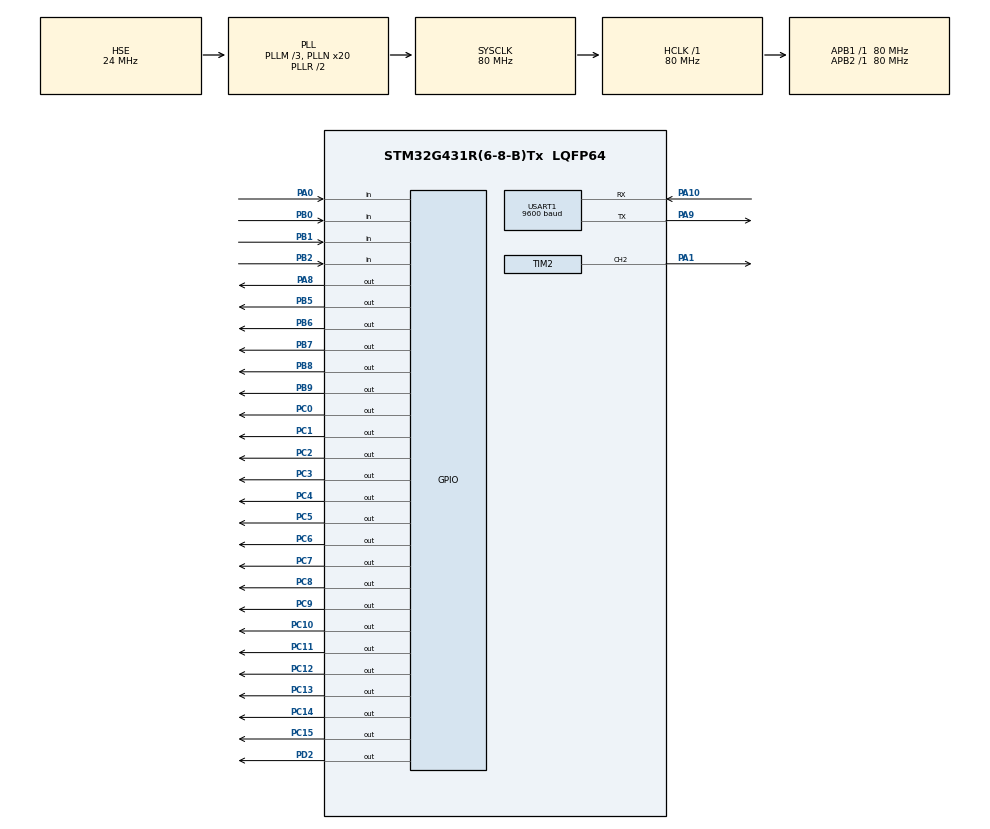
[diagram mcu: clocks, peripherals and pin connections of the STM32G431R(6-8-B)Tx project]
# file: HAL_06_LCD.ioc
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Mcu.Family=STM32G4
Mcu.Name=STM32G431R(6-8-B)Tx
Mcu.Package=LQFP64
NVIC.PriorityGroup=NVIC_PRIORITYGROUP_4
NVIC.USART1_IRQn=true\:0\:0\:false\:false\:true\:true\:true
PA0.Signal=GPIO_Input
PA1.Signal=S_TIM2_CH2
PA10.Mode=Asynchronous
PA10.Signal=USART1_RX
PA13.Mode=Serial_Wire
PA13.Signal=SYS_JTMS-SWDIO
PA14.Mode=Serial_Wire
PA14.Signal=SYS_JTCK-SWCLK
PA8.Signal=GPIO_Output
PA9.Mode=Asynchronous
PA9.Signal=USART1_TX
PB0.Signal=GPIO_Input
PB1.Signal=GPIO_Input
PB2.Signal=GPIO_Input
PB5.Signal=GPIO_Output
PB6.GPIO_ModeDefaultOutputPP=GPIO_MODE_OUTPUT_OD
PB6.Signal=GPIO_Output
PB7.GPIO_ModeDefaultOutputPP=GPIO_MODE_OUTPUT_OD
PB7.Signal=GPIO_Output
PB8-BOOT0.Signal=GPIO_Output
PB9.Signal=GPIO_Output
PC0.Signal=GPIO_Output
PC1.Signal=GPIO_Output
PC10.Signal=GPIO_Output
PC11.Signal=GPIO_Output
PC12.Signal=GPIO_Output
PC13.Signal=GPIO_Output
PC14-OSC32_IN.Signal=GPIO_Output
PC15-OSC32_OUT.Signal=GPIO_Output
PC2.Signal=GPIO_Output
PC3.Signal=GPIO_Output
PC4.Signal=GPIO_Output
PC5.Signal=GPIO_Output
PC6.Signal=GPIO_Output
PC7.Signal=GPIO_Output
PC8.Signal=GPIO_Output
PC9.Signal=GPIO_Output
PD2.Signal=GPIO_Output
PF0-OSC_IN.Mode=HSE-External-Oscillator
PF0-OSC_IN.Signal=RCC_OSC_IN
PF1-OSC_OUT.Mode=HSE-External-Oscillator
PF1-OSC_OUT.Signal=RCC_OSC_OUT
ProjectManager.HeapSize=0x200
ProjectManager.StackSize=0x400
ProjectManager.TargetToolchain=MDK-ARM V5.27
RCC.ADC12Freq_Value=80000000
RCC.AHBFreq_Value=80000000
RCC.APB1Freq_Value=80000000
RCC.APB1TimFreq_Value=80000000
RCC.APB2Freq_Value=80000000
RCC.APB2TimFreq_Value=80000000
RCC.CortexFreq_Value=80000000
RCC.EXTERNAL_CLOCK_VALUE=12288000
RCC.HCLKFreq_Value=80000000
RCC.HSE_VALUE=24000000
RCC.HSI48_VALUE=48000000
RCC.HSI_VALUE=16000000
RCC.LSE_VALUE=32768
RCC.PLLM=RCC_PLLM_DIV3
RCC.PLLN=20
RCC.PLLSourceVirtual=RCC_PLLSOURCE_HSE
RCC.SYSCLKFreq_VALUE=80000000
RCC.SYSCLKSource=RCC_SYSCLKSOURCE_PLLCLK
RCC.USBFreq_Value=80000000
RCC.VCOOutputFreq_Value=160000000
SH.S_TIM2_CH2.0=TIM2_CH2,PWM Generation2 CH2
TIM2.Channel-PWM\ Generation2\ CH2=TIM_CHANNEL_2
TIM2.PeriodNoDither=499
TIM2.Prescaler=79
TIM2.PulseNoDither_2=25
USART1.BaudRate=9600
USART1.VirtualMode-Asynchronous=VM_ASYNC
VP_SYS_VS_DBSignals.Mode=DisableDeadBatterySignals
board=custom

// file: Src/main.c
/* USER CODE BEGIN Header */
/**
  ******************************************************************************
  * @file           : main.c
  * @brief          : Main program body
  ******************************************************************************
  * @attention
  *
  * <h2><center>&copy; Copyright (c) 2021 STMicroelectronics.
  * All rights reserved.</center></h2>
  *
  * This software component is licensed by ST under BSD 3-Clause license,
  * the "License"; You may not use this file except in compliance with the
  * License. You may obtain a copy of the License at:
  *                        opensource.org/licenses/BSD-3-Clause
  *
  ******************************************************************************
  */
/* USER CODE END Header */

#include "main.h"
#include "tim.h"
#include "usart.h"
#include "gpio.h"

/* USER CODE BEGIN Includes */
#include "i2c.h"
/* USER CODE END Includes */

/* USER CODE BEGIN PV */
u8 ucLed=0;
vu32 uwTickMs=0,uwTick100Ms=0;

u8 ucState=0; //0--shop,1--price,2--rep
u8 ucEnter=0;  //0--normal 5%  1--30%
u32 uwEnterMs=0;

u8 pucShop[2]={0,0};
u8 pucPrice[2]={10,10};			//1,0,1,0    x10
u8 pucRep[2]={10,10};

u8 ucUARTCmd;
u8 pucUARTFee[25]={0};
/* USER CODE END PV */

void SystemClock_Config(void);
/* USER CODE BEGIN PFP */
void Key_Proc(void);
void LCD_Proc(void);
void LED_PWM_Proc(void);

/* USER CODE END PFP */

int main(void)
{
  /* USER CODE BEGIN 1 */
	u8 pucI2C_Read[5];
	u8 pucI2C_Write[5];
  /* USER CODE END 1 */

  /* MCU Configuration--------------------------------------------------------*/

  /* Reset of all peripherals, Initializes the Flash interface and the Systick. */
  HAL_Init();

  /* Configure the system clock */
  SystemClock_Config();

  /* Initialize all configured peripherals */
  MX_GPIO_Init();
  MX_TIM2_Init();
  MX_USART1_UART_Init();
  /* USER CODE BEGIN 2 */

	LCD_Init();
  /* USER CODE END 2 */

  /* Infinite loop */
  /* USER CODE BEGIN WHILE */

	LCD_Clear(Black);
	LCD_SetBackColor(Black);
	LCD_SetTextColor(White);

	MEM_Read(0,pucI2C_Read,5);
	if(pucI2C_Read[4]!=1)
	{
		pucRep[0]=10;
		pucRep[1]=10;
		pucPrice[0]=10;
		pucPrice[1]=10;
		pucI2C_Write[0]=10;
		pucI2C_Write[1]=10;
		pucI2C_Write[2]=10;
		pucI2C_Write[3]=10;
		pucI2C_Write[4]=1;
		MEM_Write(0,pucI2C_Write,5);
	}
	else
	{
		if(pucI2C_Read[2]>=10 && pucI2C_Read[2]<=20 && pucI2C_Read[3]>=10 && pucI2C_Read[3]<=20)
		{
			pucRep[0]=pucI2C_Read[0];
			pucRep[1]=pucI2C_Read[1];
			pucPrice[0]=pucI2C_Read[2];
			pucPrice[1]=pucI2C_Read[3];
		}
		else
		{
			pucRep[0]=10;
			pucRep[1]=10;
			pucPrice[0]=10;
			pucPrice[1]=10;
			pucI2C_Write[0]=10;
			pucI2C_Write[1]=10;
			pucI2C_Write[2]=10;
			pucI2C_Write[3]=10;
			pucI2C_Write[4]=1;
			MEM_Write(0,pucI2C_Write,5);
		}
	}
	HAL_UART_Receive_IT(&huart1,&ucUARTCmd,1);
	HAL_TIM_PWM_Start(&htim2,TIM_CHANNEL_2);
  while (1)
  {
    /* USER CODE END WHILE */

    /* USER CODE BEGIN 3 */
		Key_Proc();
		LCD_Proc();
		LED_PWM_Proc();
  }
  /* USER CODE END 3 */
}

void SystemClock_Config(void)
{
  RCC_OscInitTypeDef RCC_OscInitStruct = {0};
  RCC_ClkInitTypeDef RCC_ClkInitStruct = {0};
  RCC_PeriphCLKInitTypeDef PeriphClkInit = {0};

  /** Configure the main internal regulator output voltage
  */
  HAL_PWREx_ControlVoltageScaling(PWR_REGULATOR_VOLTAGE_SCALE1);
  /** Initializes the CPU, AHB and APB busses clocks
  */
  RCC_OscInitStruct.OscillatorType = RCC_OSCILLATORTYPE_HSE;
  RCC_OscInitStruct.HSEState = RCC_HSE_ON;
  RCC_OscInitStruct.PLL.PLLState = RCC_PLL_ON;
  RCC_OscInitStruct.PLL.PLLSource = RCC_PLLSOURCE_HSE;
  RCC_OscInitStruct.PLL.PLLM = RCC_PLLM_DIV3;
  RCC_OscInitStruct.PLL.PLLN = 20;
  RCC_OscInitStruct.PLL.PLLP = RCC_PLLP_DIV2;
  RCC_OscInitStruct.PLL.PLLQ = RCC_PLLQ_DIV2;
  RCC_OscInitStruct.PLL.PLLR = RCC_PLLR_DIV2;
  if (HAL_RCC_OscConfig(&RCC_OscInitStruct) != HAL_OK)
  {
    Error_Handler();
  }
  /** Initializes the CPU, AHB and APB busses clocks
  */
  RCC_ClkInitStruct.ClockType = RCC_CLOCKTYPE_HCLK|RCC_CLOCKTYPE_SYSCLK
                              |RCC_CLOCKTYPE_PCLK1|RCC_CLOCKTYPE_PCLK2;
  RCC_ClkInitStruct.SYSCLKSource = RCC_SYSCLKSOURCE_PLLCLK;
  RCC_ClkInitStruct.AHBCLKDivider = RCC_SYSCLK_DIV1;
  RCC_ClkInitStruct.APB1CLKDivider = RCC_HCLK_DIV1;
  RCC_ClkInitStruct.APB2CLKDivider = RCC_HCLK_DIV1;

  if (HAL_RCC_ClockConfig(&RCC_ClkInitStruct, FLASH_LATENCY_3) != HAL_OK)
  {
    Error_Handler();
  }
  /** Initializes the peripherals clocks
  */
  PeriphClkInit.PeriphClockSelection = RCC_PERIPHCLK_USART1;
  PeriphClkInit.Usart1ClockSelection = RCC_USART1CLKSOURCE_PCLK2;
  if (HAL_RCCEx_PeriphCLKConfig(&PeriphClkInit) != HAL_OK)
  {
    Error_Handler();
  }
}

/* USER CODE BEGIN 4 */
void Key_Proc(void)
{
	//bt1-->toggle LD1
	//bt2-->LD2,3,4 ---ON
	//bt3-->LD2,3,4---OFF
	uint8_t ucKey_Now;
	static uint8_t ucKey_Old=0;
	ucKey_Now=KEY_Read();
	u8 pucDisp[25]={0};
	float fFee;
	if(ucKey_Now!=ucKey_Old)
	{
		ucKey_Old=ucKey_Now;
	}
	else
	{
		ucKey_Now=0;
	}
	switch(ucKey_Now)
	{
		case 1:
			ucState =(ucState+1) % 3;
			LCD_Clear(Black);
			//ucState =! ucState;
		  /*if(!ucState )
				ucState =1;
			else
				ucState =0;*/
			break;
		case 2:
			switch(ucState)
			{
				case 0:
					pucShop[0]++;
					if(pucShop[0]>pucRep[0])
						pucShop[0]=0;
					break;
				case 1:
					pucPrice[0]++;
					if(pucPrice[0]>20)
						pucPrice[0]=10;
					MEM_Write (2,pucPrice,1);
					break;
				case 2:
					pucRep[0]++;
					MEM_Write (0,pucRep,1);
					break;
			}
			break;
		case 3:
			switch(ucState)
			{
				case 0:
					pucShop[1]++;
					if(pucShop[1]>pucRep[1])
						pucShop[1]=0;
					break;
				case 1:
					pucPrice[1]++;
					if(pucPrice[1]>20)
						pucPrice[1]=10;
					MEM_Write (3,&(pucPrice[1]),1);
					break;
				case 2:
					pucRep[1]++;
					MEM_Write (1,&(pucRep[1]),1);
					break;
			}
			break;
		case 4:
			fFee=pucShop[0]*pucPrice[0]/10.0+pucShop[1]*pucPrice[1]/10.0;
			pucRep[0] -=pucShop[0];
			pucRep[1] -=pucShop[1];

			sprintf(pucUARTFee,"X:%d,Y:%d,Z:%3.1f",pucShop[0],pucShop[1],fFee);
			HAL_UART_Transmit_IT(&huart1,(uint8_t *)pucUARTFee,strlen(pucUARTFee));
			if(pucShop[0] !=0 || pucShop[1] !=0)
			{
				MEM_Write (0,pucRep ,2);
			}
			pucShop[0]=0;
			pucShop[1]=0;
			ucEnter=1;
			uwEnterMs=uwTickMs;
			htim2.Instance->CCR2=150;
		break;
	}
	//sprintf(pucDisp,"   Press Btn%d",ucKey_Now);
	//LCD_DisplayStringLine(Line3,(u8 *)pucDisp);
}
void LCD_Proc(void)
{
	u8 pucDisp[25]={0};
	if(!ucState)
	{
		LCD_DisplayStringLine(Line1,(u8 *)"        SHOP        ");
		sprintf(pucDisp,"     X:%d    ",pucShop[0]);
		LCD_DisplayStringLine(Line2,(u8 *)pucDisp);
		sprintf(pucDisp,"     Y:%d        ",pucShop[1]);
		LCD_DisplayStringLine(Line3,(u8 *)pucDisp);
	}
	else if(ucState==1)
	{
		LCD_DisplayStringLine(Line1,(u8 *)"        PRICE        ");
		sprintf(pucDisp,"     X:%3.1f",pucPrice[0]/10.0);
		LCD_DisplayStringLine(Line2,(u8 *)pucDisp);
		sprintf(pucDisp,"     Y:%3.1f",pucPrice[1]/10.0);
		LCD_DisplayStringLine(Line3,(u8 *)pucDisp);
	}
	else
	{
		LCD_DisplayStringLine(Line1,(u8 *)"        REP        ");
		sprintf(pucDisp,"     X:%d    ",pucRep[0]);
		LCD_DisplayStringLine(Line2,(u8 *)pucDisp);
		sprintf(pucDisp,"     Y:%d     ",pucRep[1]);
		LCD_DisplayStringLine(Line3,(u8 *)pucDisp);
	}
}

void LED_PWM_Proc(void)
{
	static u32 uwTick100Ms_Temp=0;
	if(ucEnter)
	{
		ucLed |=1<<0;
		if(uwTickMs-uwEnterMs>=5000)
		{
			ucEnter=0;
		}
	}
	else
		ucLed &=1<<0;
	if(pucRep[0]==0 &&pucRep[1]==0)
	{
		if(uwTick100Ms_Temp !=uwTick100Ms)
		{
			uwTick100Ms_Temp =uwTick100Ms;
			ucLed ^=1<<1;
		}
	}
	LED_Disp(ucLed);
}

void HAL_UART_RxCpltCallback(UART_HandleTypeDef *huart)
{
	if(ucUARTCmd=='?')
	{
		sprintf(pucUARTFee,"X:%3.1f,Y:%3.1f",pucPrice[0]/10.0,pucPrice[1]/10.0);
		HAL_UART_Transmit_IT(&huart1,(uint8_t *)pucUARTFee,strlen(pucUARTFee));
	}
	else
		HAL_UART_Transmit_IT(&huart1,"Err",3);
	HAL_UART_Receive_IT(&huart1,&ucUARTCmd,1);
}
/* USER CODE END 4 */

void Error_Handler(void)
{
}

/************************ (C) COPYRIGHT STMicroelectronics *****END OF FILE****/
